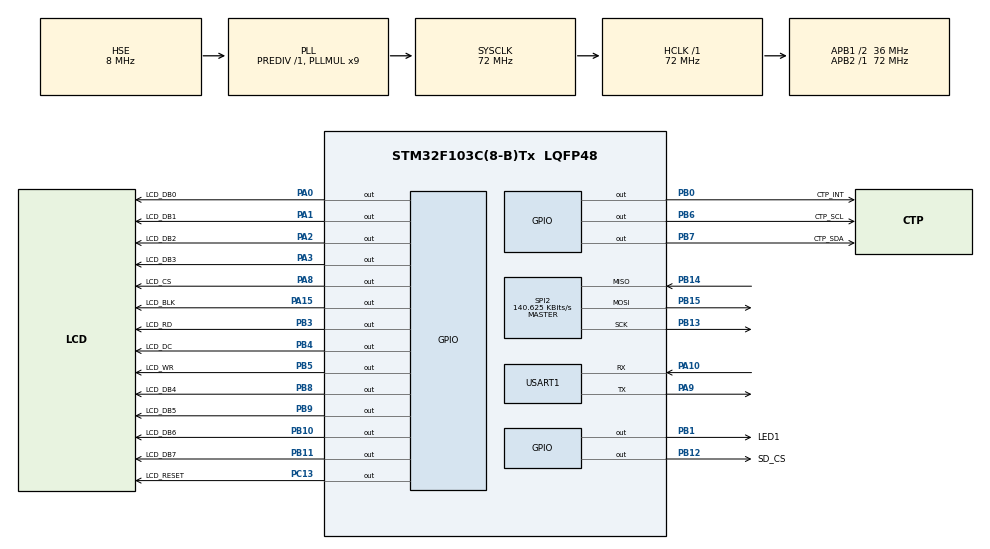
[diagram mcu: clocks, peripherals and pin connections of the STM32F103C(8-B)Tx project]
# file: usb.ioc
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FATFS._CODE_PAGE=850
FATFS._USE_LABEL=1
FATFS._USE_LFN=3
Mcu.Family=STM32F1
Mcu.Name=STM32F103C(8-B)Tx
Mcu.Package=LQFP48
NVIC.PriorityGroup=NVIC_PRIORITYGROUP_2
NVIC.TIM4_IRQn=true\:0\:0\:false\:false\:true\:true\:true\:true
NVIC.USART1_IRQn=true\:2\:0\:true\:false\:true\:true\:true\:true
PA0-WKUP.GPIO_Label=LCD_DB0
PA0-WKUP.GPIO_Speed=GPIO_SPEED_FREQ_HIGH
PA0-WKUP.PinState=GPIO_PIN_SET
PA0-WKUP.Signal=GPIO_Output
PA1.GPIO_Label=LCD_DB1
PA1.GPIO_Speed=GPIO_SPEED_FREQ_HIGH
PA1.PinState=GPIO_PIN_SET
PA1.Signal=GPIO_Output
PA10.Mode=Asynchronous
PA10.Signal=USART1_RX
PA13.Mode=Serial_Wire
PA13.Signal=SYS_JTMS-SWDIO
PA14.Mode=Serial_Wire
PA14.Signal=SYS_JTCK-SWCLK
PA15.GPIO_Label=LCD_BLK
PA15.GPIO_Speed=GPIO_SPEED_FREQ_HIGH
PA15.PinState=GPIO_PIN_SET
PA15.Signal=GPIO_Output
PA2.GPIO_Label=LCD_DB2
PA2.GPIO_Speed=GPIO_SPEED_FREQ_HIGH
PA2.PinState=GPIO_PIN_SET
PA2.Signal=GPIO_Output
PA3.GPIO_Label=LCD_DB3
PA3.GPIO_Speed=GPIO_SPEED_FREQ_HIGH
PA3.PinState=GPIO_PIN_SET
PA3.Signal=GPIO_Output
PA8.GPIO_Label=LCD_CS
PA8.GPIO_Speed=GPIO_SPEED_FREQ_HIGH
PA8.PinState=GPIO_PIN_SET
PA8.Signal=GPIO_Output
PA9.Mode=Asynchronous
PA9.Signal=USART1_TX
PB0.GPIO_Label=CTP_INT
PB0.Signal=GPIO_Output
PB1.GPIO_Label=LED1
PB1.PinState=GPIO_PIN_SET
PB1.Signal=GPIO_Output
PB10.GPIO_Label=LCD_DB6
PB10.GPIO_Speed=GPIO_SPEED_FREQ_HIGH
PB10.PinState=GPIO_PIN_SET
PB10.Signal=GPIO_Output
PB11.GPIO_Label=LCD_DB7
PB11.GPIO_Speed=GPIO_SPEED_FREQ_HIGH
PB11.PinState=GPIO_PIN_SET
PB11.Signal=GPIO_Output
PB12.GPIO_Label=SD_CS
PB12.Signal=GPIO_Output
PB13.Mode=Full_Duplex_Master
PB13.Signal=SPI2_SCK
PB14.Mode=Full_Duplex_Master
PB14.Signal=SPI2_MISO
PB15.Mode=Full_Duplex_Master
PB15.Signal=SPI2_MOSI
PB3.GPIO_Label=LCD_RD
PB3.GPIO_Speed=GPIO_SPEED_FREQ_HIGH
PB3.PinState=GPIO_PIN_SET
PB3.Signal=GPIO_Output
PB4.GPIO_Label=LCD_DC
PB4.GPIO_Speed=GPIO_SPEED_FREQ_HIGH
PB4.PinState=GPIO_PIN_SET
PB4.Signal=GPIO_Output
PB5.GPIO_Label=LCD_WR
PB5.GPIO_Speed=GPIO_SPEED_FREQ_HIGH
PB5.PinState=GPIO_PIN_SET
PB5.Signal=GPIO_Output
PB6.GPIO_Label=CTP_SCL
PB6.Signal=GPIO_Output
PB7.GPIO_Label=CTP_SDA
PB7.Signal=GPIO_Output
PB8.GPIO_Label=LCD_DB4
PB8.GPIO_Speed=GPIO_SPEED_FREQ_HIGH
PB8.PinState=GPIO_PIN_SET
PB8.Signal=GPIO_Output
PB9.GPIO_Label=LCD_DB5
PB9.GPIO_Speed=GPIO_SPEED_FREQ_HIGH
PB9.PinState=GPIO_PIN_SET
PB9.Signal=GPIO_Output
PC13-TAMPER-RTC.GPIO_Label=LCD_RESET
PC13-TAMPER-RTC.GPIO_Speed=GPIO_SPEED_FREQ_HIGH
PC13-TAMPER-RTC.PinState=GPIO_PIN_SET
PC13-TAMPER-RTC.Signal=GPIO_Output
PC14-OSC32_IN.Mode=LSE-External-Oscillator
PC14-OSC32_IN.Signal=RCC_OSC32_IN
PC15-OSC32_OUT.Mode=LSE-External-Oscillator
PC15-OSC32_OUT.Signal=RCC_OSC32_OUT
PD0-OSC_IN.Mode=HSE-External-Oscillator
PD0-OSC_IN.Signal=RCC_OSC_IN
PD1-OSC_OUT.Mode=HSE-External-Oscillator
PD1-OSC_OUT.Signal=RCC_OSC_OUT
ProjectManager.HeapSize=0x200
ProjectManager.StackSize=0x400
ProjectManager.TargetToolchain=MDK-ARM V5.32
RCC.AHBFreq_Value=72000000
RCC.APB1CLKDivider=RCC_HCLK_DIV2
RCC.APB1Freq_Value=36000000
RCC.APB1TimFreq_Value=72000000
RCC.APB2Freq_Value=72000000
RCC.APB2TimFreq_Value=72000000
RCC.HCLKFreq_Value=72000000
RCC.PLLMUL=RCC_PLL_MUL9
RCC.PLLSourceVirtual=RCC_PLLSOURCE_HSE
RCC.RTCClockSelection=RCC_RTCCLKSOURCE_LSE
RCC.SYSCLKFreq_VALUE=72000000
RCC.SYSCLKSource=RCC_SYSCLKSOURCE_PLLCLK
RCC.USBFreq_Value=48000000
RCC.USBPrescaler=RCC_USBCLKSOURCE_PLL_DIV1_5
SPI2.BaudRatePrescaler=SPI_BAUDRATEPRESCALER_256
SPI2.CLKPhase=SPI_PHASE_2EDGE
SPI2.CLKPolarity=SPI_POLARITY_HIGH
SPI2.CalculateBaudRate=140.625 KBits/s
SPI2.Direction=SPI_DIRECTION_2LINES
SPI2.Mode=SPI_MODE_MASTER
SPI2.VirtualType=VM_MASTER
TIM4.AutoReloadPreload=TIM_AUTORELOAD_PRELOAD_ENABLE
TIM4.Period=9
TIM4.Prescaler=7199
USART1.VirtualMode=VM_ASYNC
VP_FATFS_VS_Generic.Mode=User_defined
VP_TIM4_VS_ClockSourceINT.Mode=Internal
board=custom

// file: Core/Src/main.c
/* USER CODE BEGIN Header */
/**
  ******************************************************************************
  * @file           : main.c
  * @brief          : Main program body
  ******************************************************************************
  * @attention
  *
  * Copyright (c) 2023 STMicroelectronics.
  * All rights reserved.
  *
  * This software is licensed under terms that can be found in the LICENSE file
  * in the root directory of this software component.
  * If no LICENSE file comes with this software, it is provided AS-IS.
  *
  ******************************************************************************
  */
/* USER CODE END Header */
#include "main.h"
#include "fatfs.h"
#include "spi.h"
#include "tim.h"
#include "usart.h"
#include "gpio.h"

/* USER CODE BEGIN Includes */

#include <stdio.h>
#include "malloc.h"

#include "fft.h"

#include "at_user.h"
#include "lvgl.h"
#include "lv_port_disp.h"

#include "lcd.h"

/* USER CODE END Includes */

void SystemClock_Config(void);

int main(void)
{

  /* MCU Configuration--------------------------------------------------------*/

  /* Reset of all peripherals, Initializes the Flash interface and the Systick. */
  HAL_Init();

  /* Configure the system clock */
  SystemClock_Config();

  /* Initialize all configured peripherals */
  MX_GPIO_Init();
  MX_USART1_UART_Init();
  MX_FATFS_Init();
  MX_SPI2_Init();
  MX_TIM4_Init();
  /* USER CODE BEGIN 2 */

  printf("\r\n");

  my_mem_init(SRAMIN);

  if (at_user_init() == AT_EOK) {
	  printf("at user initialize ok!\r\n");
  } else {
	  printf("at user initialize failed!\r\n");
  }

  LCD_Init();

  printf("STM32F103C8T6 initialize OK!\r\n");

  /* USER CODE END 2 */

  /* Infinite loop */
  /* USER CODE BEGIN WHILE */

  lv_init();
  lv_port_disp_init();

  while (1)
  {
	  at.handleAuto(&at);

    /* USER CODE END WHILE */

  }
}

void SystemClock_Config(void)
{
  RCC_OscInitTypeDef RCC_OscInitStruct = {0};
  RCC_ClkInitTypeDef RCC_ClkInitStruct = {0};

  /** Initializes the RCC Oscillators according to the specified parameters
  * in the RCC_OscInitTypeDef structure.
  */
  RCC_OscInitStruct.OscillatorType = RCC_OSCILLATORTYPE_HSE;
  RCC_OscInitStruct.HSEState = RCC_HSE_ON;
  RCC_OscInitStruct.HSEPredivValue = RCC_HSE_PREDIV_DIV1;
  RCC_OscInitStruct.HSIState = RCC_HSI_ON;
  RCC_OscInitStruct.PLL.PLLState = RCC_PLL_ON;
  RCC_OscInitStruct.PLL.PLLSource = RCC_PLLSOURCE_HSE;
  RCC_OscInitStruct.PLL.PLLMUL = RCC_PLL_MUL9;
  if (HAL_RCC_OscConfig(&RCC_OscInitStruct) != HAL_OK)
  {
    Error_Handler();
  }

  /** Initializes the CPU, AHB and APB buses clocks
  */
  RCC_ClkInitStruct.ClockType = RCC_CLOCKTYPE_HCLK|RCC_CLOCKTYPE_SYSCLK
                              |RCC_CLOCKTYPE_PCLK1|RCC_CLOCKTYPE_PCLK2;
  RCC_ClkInitStruct.SYSCLKSource = RCC_SYSCLKSOURCE_PLLCLK;
  RCC_ClkInitStruct.AHBCLKDivider = RCC_SYSCLK_DIV1;
  RCC_ClkInitStruct.APB1CLKDivider = RCC_HCLK_DIV2;
  RCC_ClkInitStruct.APB2CLKDivider = RCC_HCLK_DIV1;

  if (HAL_RCC_ClockConfig(&RCC_ClkInitStruct, FLASH_LATENCY_2) != HAL_OK)
  {
    Error_Handler();
  }
}

void Error_Handler(void)
{
  __disable_irq();
  while (1)
  {
  }
}
